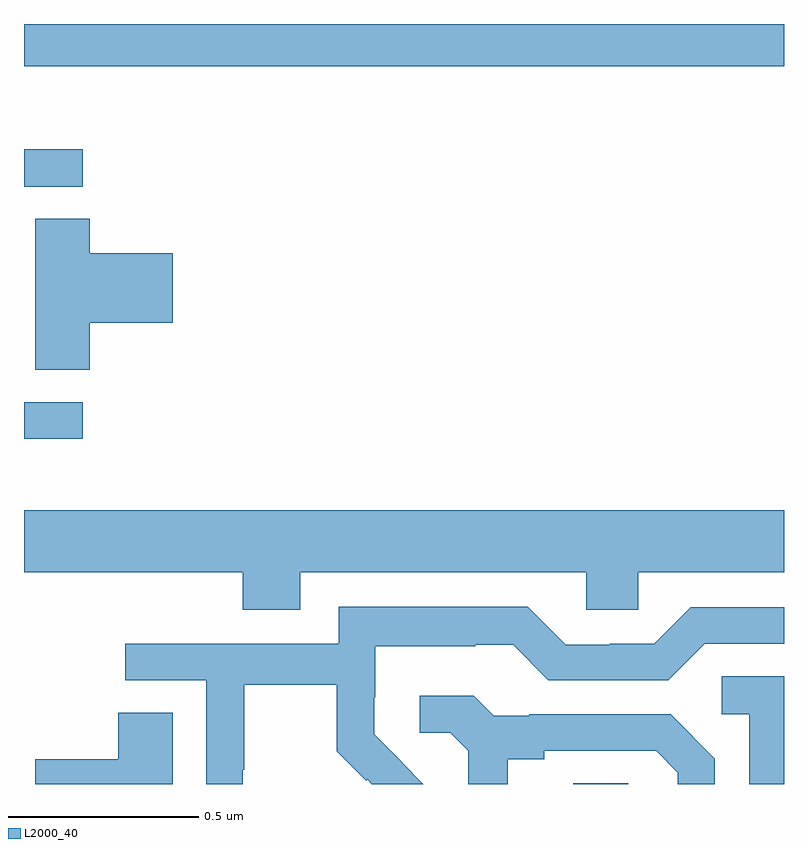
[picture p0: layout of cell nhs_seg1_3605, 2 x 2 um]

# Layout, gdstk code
import gdstk
lib = gdstk.Library(unit=1e-6, precision=1e-09)
def R(c, l, rs):  # rectangles x0, y0, x1, y1
    for r in rs: c.add(gdstk.rectangle(r[:2], r[2:], *l))
def P(c, l, *ps):  # polygons
    for p in ps: c.add(gdstk.Polygon(p, *l))
L2000_40 = (2000, 40)

nhs_seg1_3605 = lib.new_cell('nhs_seg1_3605')
R(nhs_seg1_3605, L2000_40, [(157.445,527.199,157.59,527.201), (156,528.108,156.154,528.204), (156,528.771,156.154,528.87), (156,529.088,158,529.199)])
P(nhs_seg1_3605, L2000_40, [(156.173,528.413),(156.391,528.413),(156.391,528.596),(156.173,528.596),(156.173,528.686),(156.029,528.686),(156.029,528.289),(156.173,528.289)],
  [(156.727,527.756),(157.479,527.756),(157.479,527.658),(157.617,527.658),(157.617,527.756),(158,527.756),(158,527.92),(156,527.92),(156,527.756),(156.575,527.756),(156.575,527.657),(156.727,527.657)],
  [(156.576,527.236),(156.579,527.236),(156.579,527.46),(156.823,527.46),(156.823,527.285),(156.9,527.208),(156.903,527.211),(156.915,527.199),(157.051,527.199),(156.995,527.255),(156.996,527.256),(156.922,527.33),(156.922,527.427),(156.924,527.427),(156.924,527.561),(157.187,527.561),(157.187,527.565),(157.287,527.565),(157.38,527.472),(157.695,527.472),(157.791,527.568),(158,527.568),(158,527.664),(157.755,527.664),(157.659,527.568),(157.541,527.568),(157.541,527.565),(157.425,527.565),(157.325,527.665),(156.828,527.665),(156.828,527.568),(156.267,527.568),(156.267,527.472),(156.48,527.472),(156.48,527.199),(156.576,527.199)],
  [(158,527.483),(157.836,527.483),(157.836,527.382),(157.908,527.382),(157.908,527.199),(158,527.199)],
  [(157.273,527.264),(157.369,527.264),(157.369,527.286),(157.664,527.286),(157.721,527.229),(157.721,527.199),(157.818,527.199),(157.818,527.266),(157.702,527.382),(157.33,527.382),(157.33,527.379),(157.236,527.379),(157.184,527.431),(157.041,527.431),(157.041,527.334),(157.122,527.334),(157.169,527.287),(157.169,527.199),(157.273,527.199)],
  [(156.391,527.387),(156.248,527.387),(156.248,527.264),(156.03,527.264),(156.03,527.199),(156.391,527.199)])

lib.write_gds('nhs_seg1_3605.gds')
